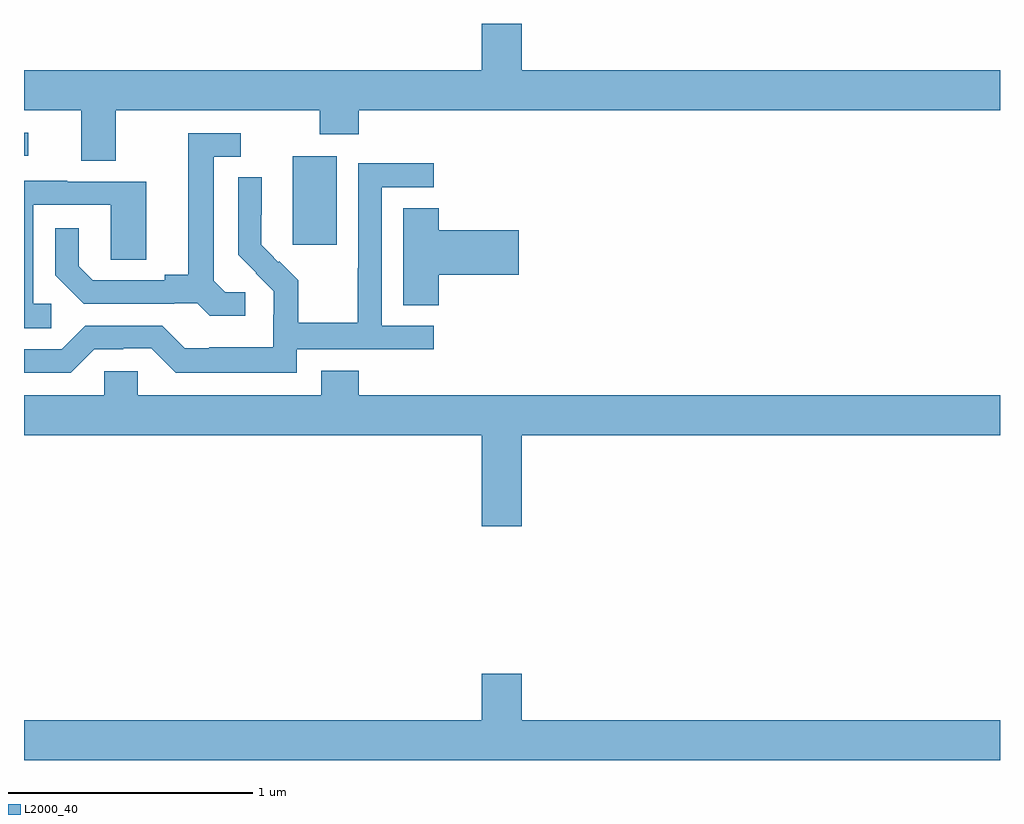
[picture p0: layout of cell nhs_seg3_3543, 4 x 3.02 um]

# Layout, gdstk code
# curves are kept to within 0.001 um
import gdstk
lib = gdstk.Library(unit=1e-6, precision=1e-09)
def R(c, l, rs):  # rectangles x0, y0, x1, y1
    for r in rs: c.add(gdstk.rectangle(r[:2], r[2:], *l))
def P(c, l, *ps):  # polygons
    for p in ps: c.add(gdstk.Polygon(p, *l))
L2000_40 = (2000, 40)

nhs_seg3_3543 = lib.new_cell('nhs_seg3_3543')
R(nhs_seg3_3543, L2000_40, [(296.102,691.041,296.281,691.402), (295,691.404,295.018,691.5)])
P(nhs_seg3_3543, L2000_40, [(295.375,691.592),(296.212,691.592),(296.212,691.493),(296.372,691.493),(296.372,691.592),(299,691.592),(299,691.756),(297.04,691.756),(297.04,691.945),(296.876,691.945),(296.876,691.756),(295,691.756),(295,691.592),(295.235,691.592),(295.235,691.384),(295.375,691.384)],
  [(295.906,690.846),(295.824,690.846),(295.777,690.893),(295.777,691.401),(295.888,691.401),(295.888,691.497),(295.673,691.497),(295.673,690.917),(295.577,690.917),(295.577,690.894),(295.282,690.894),(295.225,690.951),(295.225,691.108),(295.128,691.108),(295.128,690.914),(295.244,690.798),(295.616,690.798),(295.616,690.801),(295.71,690.801),(295.762,690.749),(295.906,690.749)],
  [(296.118,690.612),(296.68,690.612),(296.68,690.708),(296.466,690.708),(296.466,691.275),(296.68,691.275),(296.68,691.374),(296.37,691.374),(296.37,690.944),(296.368,690.944),(296.368,690.721),(296.123,690.721),(296.123,690.895),(296.046,690.972),(296.043,690.969),(295.973,691.04),(295.974,691.316),(295.878,691.316),(295.878,690.998),(296.024,690.85),(296.024,690.753),(296.022,690.753),(296.022,690.619),(295.759,690.619),(295.759,690.615),(295.659,690.615),(295.566,690.708),(295.251,690.708),(295.155,690.612),(295,690.612),(295,690.516),(295.191,690.516),(295.287,690.612),(295.406,690.612),(295.406,690.615),(295.521,690.615),(295.621,690.515),(296.118,690.515)],
  [(295.111,690.798),(295.038,690.798),(295.038,691.203),(295.356,691.203),(295.356,690.979),(295.501,690.979),(295.501,691.299),(295.177,691.299),(295.177,691.303),(295,691.303),(295,690.697),(295.111,690.697)],
  [(296.699,690.917),(297.028,690.917),(297.028,691.1),(296.699,691.1),(296.699,691.19),(296.555,691.19),(296.555,690.793),(296.699,690.793)],
  [(297.04,690.26),(299,690.26),(299,690.424),(296.372,690.424),(296.372,690.523),(296.219,690.523),(296.219,690.424),(295.467,690.424),(295.467,690.522),(295.329,690.522),(295.329,690.424),(295,690.424),(295,690.26),(296.876,690.26),(296.876,689.886),(297.04,689.886)],
  [(299,689.092),(297.04,689.092),(297.04,689.281),(296.876,689.281),(296.876,689.092),(295,689.092),(295,688.928),(299,688.928)])

lib.write_gds('nhs_seg3_3543.gds')
